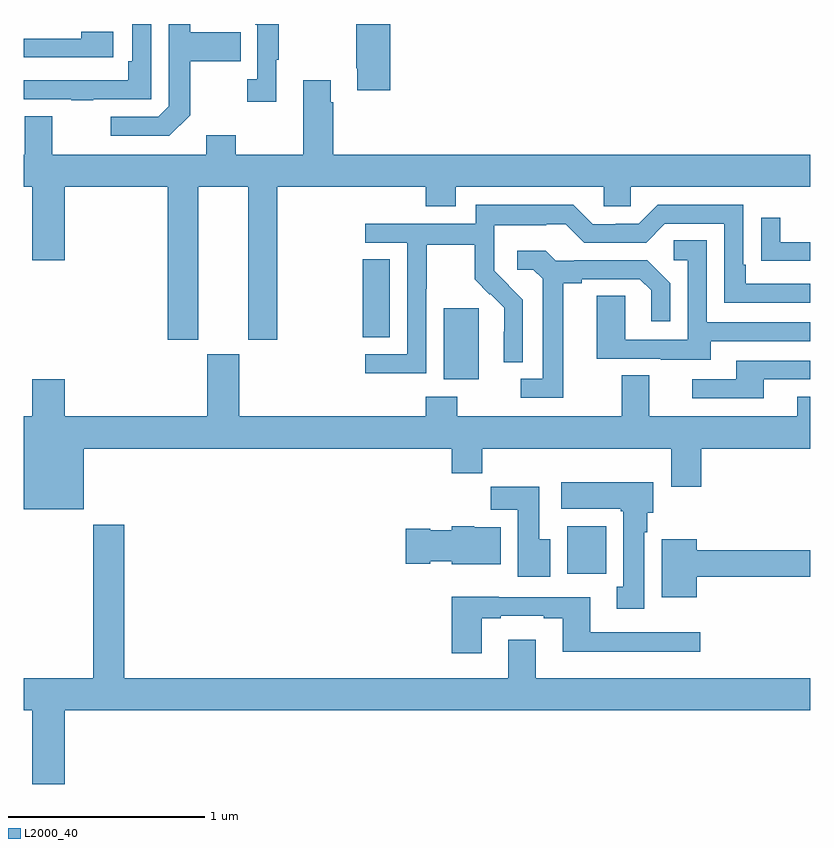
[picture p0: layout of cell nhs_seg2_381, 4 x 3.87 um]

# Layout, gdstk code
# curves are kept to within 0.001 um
import gdstk
lib = gdstk.Library(unit=1e-6, precision=1e-09)
def R(c, l, rs):  # rectangles x0, y0, x1, y1
    for r in rs: c.add(gdstk.rectangle(r[:2], r[2:], *l))
def P(c, l, *ps):  # polygons
    for p in ps: c.add(gdstk.Polygon(p, *l))
L2000_40 = (2000, 40)

nhs_seg2_381 = lib.new_cell('nhs_seg2_381')
R(nhs_seg2_381, L2000_40, [(131.765,643.004,131.962,643.246), (131.135,643.994,131.314,644.355), (130.723,644.206,130.861,644.603)])
P(nhs_seg2_381, L2000_40, [(130.864,645.8),(130.69,645.8),(130.69,645.574),(130.697,645.574),(130.697,645.462),(130.864,645.462)],
  [(129.353,645.417),(129.648,645.417),(129.648,645.8),(129.552,645.8),(129.552,645.61),(129.532,645.61),(129.532,645.513),(129,645.513),(129,645.417),(129.241,645.417),(129.241,645.412),(129.353,645.412)],
  [(130.285,645.617),(130.297,645.617),(130.297,645.8),(130.176,645.8),(130.176,645.797),(130.188,645.797),(130.188,645.518),(130.137,645.518),(130.137,645.405),(130.285,645.405)],
  [(129.847,645.337),(129.847,645.61),(130.103,645.61),(130.103,645.757),(129.847,645.757),(129.847,645.8),(129.738,645.8),(129.738,645.381),(129.684,645.327),(129.441,645.327),(129.441,645.231),(129.741,645.231)],
  [(129.454,645.76),(129.293,645.76),(129.293,645.726),(129,645.726),(129,645.63),(129.454,645.63)],
  [(131.045,644.873),(131.197,644.873),(131.197,644.972),(131.949,644.972),(131.949,644.874),(132.087,644.874),(132.087,644.972),(133,644.972),(133,645.136),(130.574,645.136),(130.574,645.401),(130.561,645.401),(130.561,645.514),(130.421,645.514),(130.421,645.136),(130.077,645.136),(130.077,645.235),(129.929,645.235),(129.929,645.136),(129.145,645.136),(129.145,645.331),(129.005,645.331),(129.005,645.136),(129,645.136),(129,644.972),(129.044,644.972),(129.044,644.598),(129.208,644.598),(129.208,644.972),(129.733,644.972),(129.733,644.193),(129.886,644.193),(129.886,644.972),(130.142,644.972),(130.142,644.193),(130.29,644.193),(130.29,644.972),(131.045,644.972)],
  [(131.046,644.452),(131.049,644.452),(131.049,644.676),(131.293,644.676),(131.293,644.501),(131.37,644.424),(131.373,644.427),(131.444,644.357),(131.444,644.234),(131.442,644.234),(131.442,644.08),(131.538,644.08),(131.538,644.398),(131.392,644.546),(131.392,644.643),(131.394,644.643),(131.394,644.777),(131.657,644.777),(131.657,644.781),(131.757,644.781),(131.85,644.688),(132.165,644.688),(132.261,644.784),(132.564,644.784),(132.564,644.382),(133,644.382),(133,644.478),(132.673,644.478),(132.673,644.575),(132.66,644.575),(132.66,644.88),(132.225,644.88),(132.129,644.784),(132.011,644.784),(132.011,644.781),(131.895,644.781),(131.795,644.881),(131.298,644.881),(131.298,644.784),(130.737,644.784),(130.737,644.688),(130.95,644.688),(130.95,644.121),(130.737,644.121),(130.737,644.023),(131.046,644.023)],
  [(133,644.691),(132.847,644.691),(132.847,644.815),(132.751,644.815),(132.751,644.596),(132.853,644.596),(132.853,644.595),(133,644.595)],
  [(132.493,644.187),(133,644.187),(133,644.283),(132.474,644.283),(132.474,644.699),(132.306,644.699),(132.306,644.598),(132.378,644.598),(132.378,644.193),(132.06,644.193),(132.06,644.417),(131.915,644.417),(131.915,644.097),(132.239,644.097),(132.239,644.093),(132.493,644.093)],
  [(131.743,644.48),(131.839,644.48),(131.839,644.502),(132.134,644.502),(132.191,644.445),(132.191,644.289),(132.288,644.289),(132.288,644.482),(132.172,644.598),(131.8,644.598),(131.8,644.595),(131.706,644.595),(131.654,644.647),(131.511,644.647),(131.511,644.55),(131.592,644.55),(131.639,644.503),(131.639,643.995),(131.529,643.995),(131.529,643.899),(131.743,643.899)],
  [(129.304,643.64),(131.177,643.64),(131.177,643.516),(131.333,643.516),(131.333,643.64),(132.293,643.64),(132.293,643.446),(132.446,643.446),(132.446,643.64),(133,643.64),(133,643.903),(132.935,643.903),(132.935,643.804),(132.181,643.804),(132.181,644.012),(132.041,644.012),(132.041,643.804),(131.205,643.804),(131.205,643.903),(131.045,643.903),(131.045,643.804),(130.096,643.804),(130.096,644.121),(129.932,644.121),(129.932,643.804),(129.208,643.804),(129.208,643.993),(129.044,643.993),(129.044,643.804),(129,643.804),(129,643.331),(129.304,643.331)],
  [(132.763,643.992),(133,643.992),(133,644.088),(132.623,644.088),(132.623,643.992),(132.399,643.992),(132.399,643.896),(132.763,643.896)],
  [(132.157,643.214),(132.172,643.214),(132.172,643.314),(132.202,643.314),(132.202,643.468),(131.733,643.468),(131.733,643.334),(132.037,643.334),(132.037,643.321),(132.05,643.321),(132.05,642.938),(132.017,642.938),(132.017,642.825),(132.157,642.825)],
  [(131.677,643.18),(131.623,643.18),(131.623,643.447),(131.374,643.447),(131.374,643.328),(131.513,643.328),(131.513,642.987),(131.677,642.987)],
  [(129.208,642.308),(133,642.308),(133,642.472),(131.605,642.472),(131.605,642.667),(131.465,642.667),(131.465,642.472),(129.512,642.472),(129.512,643.252),(129.352,643.252),(129.352,642.472),(129,642.472),(129,642.308),(129.044,642.308),(129.044,641.934),(129.208,641.934)],
  [(131.425,643.24),(131.292,643.24),(131.292,643.246),(131.178,643.246),(131.178,643.225),(131.067,643.225),(131.067,643.233),(130.944,643.233),(130.944,643.055),(131.067,643.055),(131.067,643.067),(131.178,643.067),(131.178,643.052),(131.425,643.052)],
  [(132.424,642.988),(133,642.988),(133,643.124),(132.424,643.124),(132.424,643.18),(132.245,643.18),(132.245,642.884),(132.424,642.884)],
  [(131.329,642.777),(131.425,642.777),(131.425,642.789),(131.645,642.789),(131.645,642.777),(131.741,642.777),(131.741,642.608),(132.442,642.608),(132.442,642.705),(131.881,642.705),(131.881,642.885),(131.417,642.885),(131.417,642.886),(131.177,642.886),(131.177,642.6),(131.329,642.6)])

lib.write_gds('nhs_seg2_381.gds')
